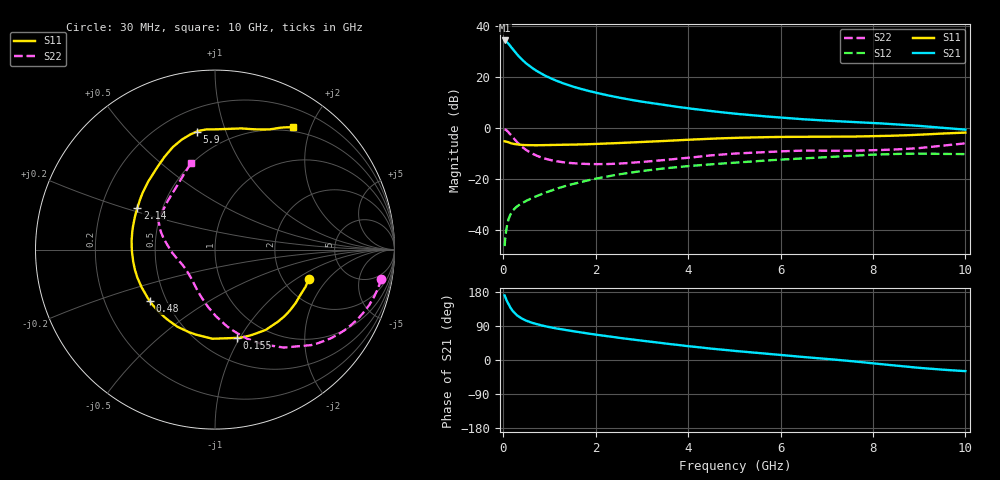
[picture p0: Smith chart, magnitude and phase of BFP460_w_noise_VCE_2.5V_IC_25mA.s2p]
! (c) 2016  Infineon Technologies AG, Munich
! Infineon Technologies  Discrete & RF Semiconductors
! BFP460
! VCE =  2.5 V,  IC =  25 mA
! Common Emitter S-Parameters:  Jan 2016
# GHz  S  MA  R  50
!  f  S11  S21  S12  S22
! GHz  MAG  ANG  MAG  ANG  MAG  ANG  MAG  ANG
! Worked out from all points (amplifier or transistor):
!   229 points, 30 MHz to 10 GHz, reference 50 ohm
!   highest |S21| = 34.2 dB at 30 MHz (marker M1)
!   |S21| within 3 dB of that: start of sweep to 189.8 MHz
!   unconditionally stable (mu >= 1): 1.614 GHz to 7.755 GHz
!   at 280 MHz: K = 0.47, MSG = 30.1 dB, |S12| = -31.0 dB
!   at 1.78 GHz: K = 1.01, MAG = 17.1 dB, |S12| = -20.7 dB
!   at 10 GHz: K = 0.98, MSG = 4.8 dB, |S12| = -10.2 dB
!   lowest NFmin = 1.36 dB at 450 MHz
!   S11 on the Smith chart (normalised r, x): 30 MHz: 2.76, -1.28; 155 MHz: 0.73, -0.97; 480 MHz: 0.41, -0.29; 2.14 GHz: 0.36, +0.22; 5.9 GHz: 0.34, +0.80; 10 GHz: 0.44, +1.74
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0.03  0.548 -17.2  51.13 170.6  0.0049 83.9  0.9407 -9.9
0.05  0.5389 -27.6  49.73 163.9  0.0079 78.6  0.9241 -16.6
0.07  0.5378 -38.9  48.5 158.1  0.0106 75.8  0.8986 -23.0
0.09  0.5334 -48.8  46.58 152.9  0.0134 72.1  0.8664 -29.1
0.12  0.522 -62.5  43.45 145.5  0.0169 67.6  0.8123 -37.5
0.155  0.5068 -76.2  39.67 138.2  0.0202 63.2  0.7454 -45.7
0.22  0.489 -97.0  33.48 127.7  0.0249 58.3  0.6341 -58.1
0.26  0.4826 -107.2  30.2 122.3  0.0272 56.4  0.5766 -64.7
0.3  0.4781 -115.9  27.34 117.8  0.0293 55.1  0.5264 -70.3
0.4  0.4667 -132.3  21.9 109.5  0.0336 54.1  0.4323 -81.2
0.48  0.4623 -141.8  18.81 104.8  0.0369 54.2  0.3801 -87.8
0.64  0.4588 -155.7  14.58 97.6  0.0433 55.3  0.3114 -98.6
0.9  0.4607 -170.7  10.57 89.3  0.054 56.9  0.2516 -112.0
1.2  0.4648 177.3  8.024 82.1  0.0669 57.7  0.2197 -123.2
1.7  0.4762 162.5  5.725 72.4  0.0889 56.7  0.1995 -137.0
2.14  0.491 151.8  4.578 64.7  0.1083 54.3  0.1964 -147.2
3.4  0.5508 127.7  2.874 45.1  0.1588 44.6  0.2322 -173.3
5.1  0.643 105.8  1.867 23.1  0.2127 31.7  0.3182 161.6
5.9  0.6652 98.9  1.619 14.2  0.2375 25.7  0.3451 154.9
6.8  0.6701 91.3  1.421 4.9  0.2628 19.3  0.3593 150.3
8.4  0.703 72.6  1.19 -13.6  0.309 5.0  0.3769 134.6
10  0.8102 57.4  0.925 -29.4  0.3081 -7.6  0.5 105.5
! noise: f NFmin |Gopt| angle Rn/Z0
0.45  1.36  0.13  -171  0.13
0.9  1.38  0.11  -170  0.13
1.9  1.49  0.23  -146  0.13
3.5  1.42  0.46  -122  0.16
